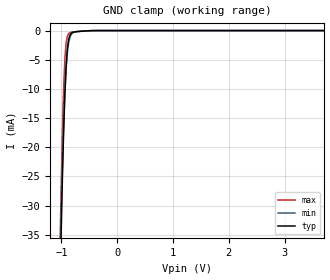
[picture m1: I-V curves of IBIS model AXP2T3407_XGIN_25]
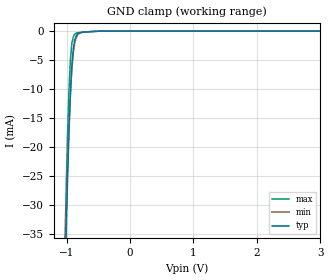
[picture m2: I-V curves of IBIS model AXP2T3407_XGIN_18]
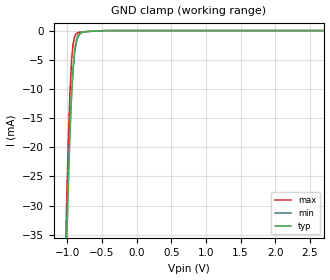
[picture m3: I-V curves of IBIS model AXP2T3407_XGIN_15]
| NXP Semiconductors
| Logic Products Group
| IBIS model of 74AXP2T3407
| DUAL SUPPLY SINGLE BUFFER AND SINGLE BUFFER WITH OPEN-DRAIN
|[Packages]:
|[Package1]: TSSOP8 (DP) 8-pins package
|[Package2]: VSSOP8 (DC) 8-pins package
|[Package3]: XSON8  (GT) 8-pins Package
|[Package4]: XSON8U (GD) 8-pins package
|[Package5]: XSON8  (GN) 8-pins Package
|[Package6]: XSON8  (GS) 8-pins Package
[IBIS Ver]   3.2
[File Name]   axp2t3407.ibs
[File Rev]   1.0
[Date]   02-Mar-2016
[Source]   File created from simulations by LPG
   NXP Semiconductors Nijmegen
[Notes]   V1.0   Ibis model.
   Revision History
   Version Date   Author/ Description
   Editor
   1.0   February 2016  TJ   Initial model
   Remarks: - The Power Clamp curves have been omitted since there
   is no power clamp diode.
   - Non-monotonic sections below 0V in pulldown and pullup
   curves have been removed (if any).
   - ibischk V5.1.4 used
[Disclaimer]
    NXP Semiconductors warrants and represents that the IBIS model
    identified herein is owned by NXP Semiconductors (NXP). The
    model provided is not warranted as fully representing all of the
    operating characteristics and specifications of the semiconductor
    products to which the model relates.  Moreover, unless there is a
    signed, written agreement to the contrary, this IBIS model is
    furnished on an "as is" basis without support or warranty of any
    kind, either expressed or implied, regarding the use thereof, and
    NXP specifically disclaims all implied warranties of
    merchantability and fitness of the model for any purpose.
    NXP does not assume any liability arising out of the application
    or use of this IBIS model including infringement of patents and
    copyrights, nor does NXP convey any license under its patents and
    copyrights or the rights of others.
    NXP provides IBIS models as a service to our customers. You and
    your company shall not distribute, convey, sell, or give these models
    to anyone else without receiving prior written permission from
    NXP.
    NXP reserves the right to make changes without notice to these
    IBIS models to improve reliability, function, or design.
    Please be aware that your receipt and subsequent use of the IBIS
    information provided shall serve as acceptance of the terms and
    conditions of this agreement.  If you do not accept these terms,
    you should return or destroy the IBIS models and any other
    accompanying information immediately.
[Copyright]
   (C) Copyright 2016 NXP Semiconductors
   All rights reserved
|   Info for  TSSOP8 (DP) 8-pins package
[Component]   74AXP2T3407_DP
[Manufacturer]   NXP Semiconductors
[Package]
|   Typ   Min   Max
R_pkg   7.796E-02   6.927E-02   8.662E-02
L_pkg   1.612E-09   1.470E-09   1.752E-09
C_pkg   3.647E-13   3.408E-13   3.889E-13
[Pin] signal_name   model_name   R_pin   L_pin   C_pin
   1   VCCI   POWER 8.661E-02 1.752E-09 3.411E-13
   2   1A   AXP2T3407_XGIN 6.930E-02 1.472E-09 3.889E-13
   3   2B   AXP2T3407_XGIN 6.932E-02 1.475E-09 3.883E-13
   4   GND   GND 8.662E-02 1.752E-09 3.410E-13
   5   GND   GND 8.662E-02 1.751E-09 3.408E-13
   6   2Y   AXP2T3407_XTODN 6.930E-02 1.472E-09 3.880E-13
   7   1Y   AXP2T3407_XTTOUTN 6.927E-02 1.470E-09 3.883E-13
   8   VCCO   POWER 8.662E-02 1.750E-09 3.409E-13
|   Info for  VSSOP8 (DC) 8-pins package
[Component]   74AXP2T3407_DC
[Manufacturer]   NXP Semiconductors
[Package]
|   Typ   Min   Max
R_pkg   8.321E-02   8.287E-02   8.533E-02
L_pkg   1.585E-09   1.544E-09   1.824E-09
C_pkg   3.093E-13   2.504E-13   5.556E-13
[Pin] signal_name   model_name   R_pin   L_pin   C_pin
   1   VCCI   POWER 8.295E-02 1.560E-09 2.505E-13
   2   1A   AXP2T3407_XGIN 8.290E-02 1.546E-09 2.924E-13
   3   2B   AXP2T3407_XGIN 8.288E-02 1.546E-09 2.896E-13
   4   GND   GND 8.533E-02 1.824E-09 5.556E-13
   5   GND   GND 8.295E-02 1.560E-09 2.504E-13
   6   2Y   AXP2T3407_XTODN 8.287E-02 1.544E-09 2.920E-13
   7   1Y   AXP2T3407_XTTOUTN 8.289E-02 1.545E-09 2.920E-13
   8   VCCO   POWER 8.293E-02 1.559E-09 2.516E-13
|   Info for  XSON8 (GT) 8-pins Package
[Component]   74AXP2T3407_GT
[Manufacturer]   NXP Semiconductors
[Package]
|   Typ   Min   Max
R_pkg   4.241E-02   3.477E-02   5.228E-02
L_pkg   5.404E-10   4.419E-10   6.673E-10
C_pkg   1.195E-13   1.144E-13   1.275E-13
[Pin] signal_name   model_name   R_pin   L_pin   C_pin
   1   VCCI   POWER 4.701E-02 6.002E-10 1.203E-13
   2   1A   AXP2T3407_XGIN 3.559E-02 4.525E-10 1.154E-13
   3   2B   AXP2T3407_XGIN 3.478E-02 4.421E-10 1.144E-13
   4   GND   GND 5.228E-02 6.673E-10 1.275E-13
   5   GND   GND 5.228E-02 6.672E-10 1.275E-13
   6   2Y   AXP2T3407_XTODN 3.477E-02 4.419E-10 1.145E-13
   7   1Y   AXP2T3407_XTTOUTN 3.558E-02 4.523E-10 1.154E-13
   8   VCCO   POWER 4.701E-02 5.996E-10 1.211E-13
|   Info for  XSON8U (GD) 8-pins package
[Component]   74AXP2T3407_GD
[Manufacturer]   NXP Semiconductors
[Package]
|   Typ   Min   Max
R_pkg   7.877E-02   7.876E-02   7.877E-02
L_pkg   1.209E-09   1.209E-09   1.209E-09
C_pkg   1.410E-13   1.367E-13   1.439E-13
[Pin] signal_name   model_name   R_pin   L_pin   C_pin
   1   VCCI   POWER 7.876E-02 1.209E-09 1.426E-13
   2   1A   AXP2T3407_XGIN 7.877E-02 1.209E-09 1.439E-13
   3   2B   AXP2T3407_XGIN 7.877E-02 1.209E-09 1.435E-13
   4   GND   GND 7.876E-02 1.209E-09 1.367E-13
   5   GND   GND 7.876E-02 1.209E-09 1.369E-13
   6   2Y   AXP2T3407_XTODN 7.877E-02 1.209E-09 1.435E-13
   7   1Y   AXP2T3407_XTTOUTN 7.877E-02 1.209E-09 1.435E-13
   8   VCCO   POWER 7.876E-02 1.209E-09 1.372E-13
|   Info for  XSON8 (GN) 8-pins Package
[Component]   74AXP2T3407_GN
[Manufacturer]   NXP Semiconductors
[Package]
|   Typ   Min   Max
R_pkg   4.574E-02   4.573E-02   4.574E-02
L_pkg   5.846E-10   5.845E-10   5.846E-10
C_pkg   1.431E-13   1.301E-13   1.562E-13
[Pin] signal_name   model_name   R_pin   L_pin   C_pin
   1   VCCI   POWER 4.573E-02 5.846E-10 1.302E-13
   2   1A   AXP2T3407_XGIN 4.574E-02 5.845E-10 1.562E-13
   3   2B   AXP2T3407_XGIN 4.574E-02 5.845E-10 1.560E-13
   4   GND   GND 4.574E-02 5.846E-10 1.301E-13
   5   GND   GND 4.574E-02 5.846E-10 1.301E-13
   6   2Y   AXP2T3407_XTODN 4.574E-02 5.845E-10 1.561E-13
   7   1Y   AXP2T3407_XTTOUTN 4.574E-02 5.845E-10 1.562E-13
   8   VCCO   POWER 4.574E-02 5.846E-10 1.302E-13
|   Info for  XSON8 (GS) 8-pins Package
[Component]   74AXP2T3407_GS
[Manufacturer]   NXP Semiconductors
[Package]
|   Typ   Min   Max
R_pkg   5.159E-02   5.158E-02   5.159E-02
L_pkg   6.596E-10   6.595E-10   6.596E-10
C_pkg   1.499E-13   1.368E-13   1.630E-13
[Pin] signal_name   model_name   R_pin   L_pin   C_pin
   1   VCCI   POWER 5.158E-02 6.596E-10 1.369E-13
   2   1A   AXP2T3407_XGIN 5.159E-02 6.595E-10 1.630E-13
   3   2B   AXP2T3407_XGIN 5.159E-02 6.595E-10 1.628E-13
   4   GND   GND 5.159E-02 6.596E-10 1.369E-13
   5   GND   GND 5.159E-02 6.596E-10 1.368E-13
   6   2Y   AXP2T3407_XTODN 5.159E-02 6.595E-10 1.628E-13
   7   1Y   AXP2T3407_XTTOUTN 5.159E-02 6.595E-10 1.629E-13
   8   VCCO   POWER 5.159E-02 6.596E-10 1.370E-13
[Model Selector]   AXP2T3407_XGIN
AXP2T3407_XGIN_25   2.5V Vcc input model
AXP2T3407_XGIN_18   1.8V Vcc input model
AXP2T3407_XGIN_15   1.5V Vcc input model
AXP2T3407_XGIN_12   1.2V Vcc input model
AXP2T3407_XGIN_8   0.8V Vcc input model
[Model Selector]   AXP2T3407_XTODN
AXP2T3407_XTODN_50   5.0V Vcc open-drain output translator, non-inverting
AXP2T3407_XTODN_33   3.3V Vcc open-drain output translator, non-inverting
AXP2T3407_XTODN_25   2.5V Vcc open-drain output translator, non-inverting
AXP2T3407_XTODN_18   1.8V Vcc open-drain output translator, non-inverting
AXP2T3407_XTODN_15   1.5V Vcc open-drain output translator, non-inverting
AXP2T3407_XTODN_12   1.2V Vcc open-drain output translator, non-inverting
[Model Selector]   AXP2T3407_XTTOUTN
AXP2T3407_XTTOUTN_50   5.0V Vcc tri-state output translator, non-inverting
AXP2T3407_XTTOUTN_33   3.3V Vcc tri-state output translator, non-inverting
AXP2T3407_XTTOUTN_25   2.5V Vcc tri-state output translator, non-inverting
AXP2T3407_XTTOUTN_18   1.8V Vcc tri-state output translator, non-inverting
AXP2T3407_XTTOUTN_15   1.5V Vcc tri-state output translator, non-inverting
AXP2T3407_XTTOUTN_12   1.2V Vcc tri-state output translator, non-inverting
| Models and submodels in the file (17): AXP2T3407_XGIN_25 (Input), AXP2T3407_XGIN_18 (Input), AXP2T3407_XGIN_15 (Input), AXP2T3407_XGIN_12 (Input), AXP2T3407_XGIN_8 (Input), AXP2T3407_XTODN_50 (Open_drain), AXP2T3407_XTODN_33 (Open_drain), AXP2T3407_XTODN_25 (Open_drain), AXP2T3407_XTODN_18 (Open_drain), AXP2T3407_XTODN_15 (Open_drain), AXP2T3407_XTODN_12 (Open_drain), AXP2T3407_XTTOUTN_50 (Output), AXP2T3407_XTTOUTN_33 (Output), AXP2T3407_XTTOUTN_25 (Output), AXP2T3407_XTTOUTN_18 (Output), AXP2T3407_XTTOUTN_15 (Output), AXP2T3407_XTTOUTN_12 (Output)
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| Remark: If your software does not support the Model Selector
|   Please comment out the lines of the Model Selector, which
|   contain the name of the Model, except the one you want to use.
|   Model AXP2T3407_XGIN_25
[Model]   AXP2T3407_XGIN_25
Model_type   Input
Vinl = 0.7V
Vinh = 1.6V
C_comp   0.2951pF   0.2741pF   0.3179pF
[Model Spec]
| Note: The input and output voltage ratings may be exceeded if the input and
|   output current ratings are observed (please refer to the data sheet)
|   Subparameter   typ   min   max
| Hysteresis
Vinl   0.7   0.7   0.7
Vinh   1.6   1.6   1.6
| Overshoot
S_overshoot_high   2.75   2.75   2.75
S_overshoot_low   -0.5   -0.5   -0.5
D_overshoot_high   3.3   3.3   3.3
D_overshoot_low   -0.95   -0.9   -1.0
D_overshoot_time   3n   3n   3n
|Ambient temperature:   25   85   -40
[Temperature Range]   30   90   -35
[Voltage Range]   2.5   2.3   2.7
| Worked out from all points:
|   GND clamp passes 1 mA (typ) near -0.85 V on its own axis
|Process Range   nominal   slow   fast
[GND_clamp]
|   voltage   I(typ)   I(min)   I(max)
-2.75V    -1.14A     -1.056A    -1.22A
-1.031V   -46.98mA   -42.1mA    -39.97mA
-1.008V   -36.19mA   -32.68mA   -28.49mA
-985.4mV  -26.37mA   -24.2mA    -18.44mA
-962.5mV  -17.85mA   -16.89mA   -10.45mA
-939.6mV  -11.01mA   -10.99mA   -5.054mA
-916.7mV  -6.142mA   -6.653mA   -2.184mA
-893.8mV  -3.146mA   -3.785mA   -973.2uA
-847.9mV  -817.1uA   -1.152mA   -364.2uA
-756.2mV  -211.8uA   -232.8uA   -210.2uA
-412.5mV  -4.391uA   -7.311uA   -1.99uA
5.5V      0A         0A         0A
|   Model AXP2T3407_XGIN_18
[Model]   AXP2T3407_XGIN_18
Model_type   Input
Vinl = 0.5775V
Vinh = 1.265V
C_comp   0.3021pF   0.2792pF   0.3269pF
[Model Spec]
| Note: The input and output voltage ratings may be exceeded if the input and
|   output current ratings are observed (please refer to the data sheet)
|   Subparameter   typ   min   max
| Hysteresis
Vinl   0.63   0.5775   0.6825
Vinh   1.17   1.0725   1.2675
| Overshoot
S_overshoot_high   2.75   2.75   2.75
S_overshoot_low   -0.5   -0.5   -0.5
D_overshoot_high   3.3   3.3   3.3
D_overshoot_low   -0.95   -0.9   -1.0
D_overshoot_time   3n   3n   3n
|Ambient temperature:   25   85   -40
[Temperature Range]   30   90   -35
[Voltage Range]   1.8   1.65   1.95
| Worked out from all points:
|   GND clamp passes 1 mA (typ) near -0.85 V on its own axis
|Process Range   nominal   slow   fast
[GND_clamp]
|   voltage   I(typ)   I(min)   I(max)
-2.75V    -1.14A     -1.056A    -1.22A
-1.031V   -46.98mA   -42.1mA    -39.97mA
-1.008V   -36.19mA   -32.68mA   -28.49mA
-985.4mV  -26.37mA   -24.2mA    -18.44mA
-962.5mV  -17.85mA   -16.89mA   -10.45mA
-939.6mV  -11.01mA   -10.99mA   -5.054mA
-916.7mV  -6.142mA   -6.653mA   -2.184mA
-893.8mV  -3.146mA   -3.785mA   -973.2uA
-847.9mV  -817.1uA   -1.152mA   -364.2uA
-756.2mV  -211.8uA   -232.8uA   -210.2uA
-412.5mV  -4.391uA   -7.311uA   -1.99uA
5.5V      0A         0A         0A
|   Model AXP2T3407_XGIN_15
[Model]   AXP2T3407_XGIN_15
Model_type   Input
Vinl = 0.49V
Vinh = 0.975V
C_comp   0.3052pF   0.2797pF   0.3315pF
[Model Spec]
| Note: The input and output voltage ratings may be exceeded if the input and
|   output current ratings are observed (please refer to the data sheet)
|   Subparameter   typ   min   max
| Hysteresis
Vinl   0.525   0.49   0.56
Vinh   0.975   0.91   1.04
| Overshoot
S_overshoot_high   2.75   2.75   2.75
S_overshoot_low   -0.5   -0.5   -0.5
D_overshoot_high   3.3   3.3   3.3
D_overshoot_low   -0.95   -0.9   -1.0
D_overshoot_time   3n   3n   3n
|Ambient temperature:   25   85   -40
[Temperature Range]   30   90   -35
[Voltage Range]   1.5   1.4   1.6
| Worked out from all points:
|   GND clamp passes 1 mA (typ) near -0.85 V on its own axis
|Process Range   nominal   slow   fast
[GND_clamp]
|   voltage   I(typ)   I(min)   I(max)
-2.75V    -1.14A     -1.056A    -1.22A
-1.031V   -46.98mA   -42.1mA    -39.97mA
-1.008V   -36.19mA   -32.68mA   -28.49mA
-985.4mV  -26.37mA   -24.2mA    -18.44mA
-962.5mV  -17.85mA   -16.89mA   -10.45mA
-939.6mV  -11.01mA   -10.99mA   -5.054mA
-916.7mV  -6.142mA   -6.653mA   -2.184mA
-893.8mV  -3.146mA   -3.785mA   -973.2uA
-847.9mV  -817.1uA   -1.152mA   -364.2uA
-756.2mV  -211.8uA   -232.8uA   -210.2uA
-412.5mV  -4.391uA   -7.311uA   -1.99uA
5.5V      0A         0A         0A
